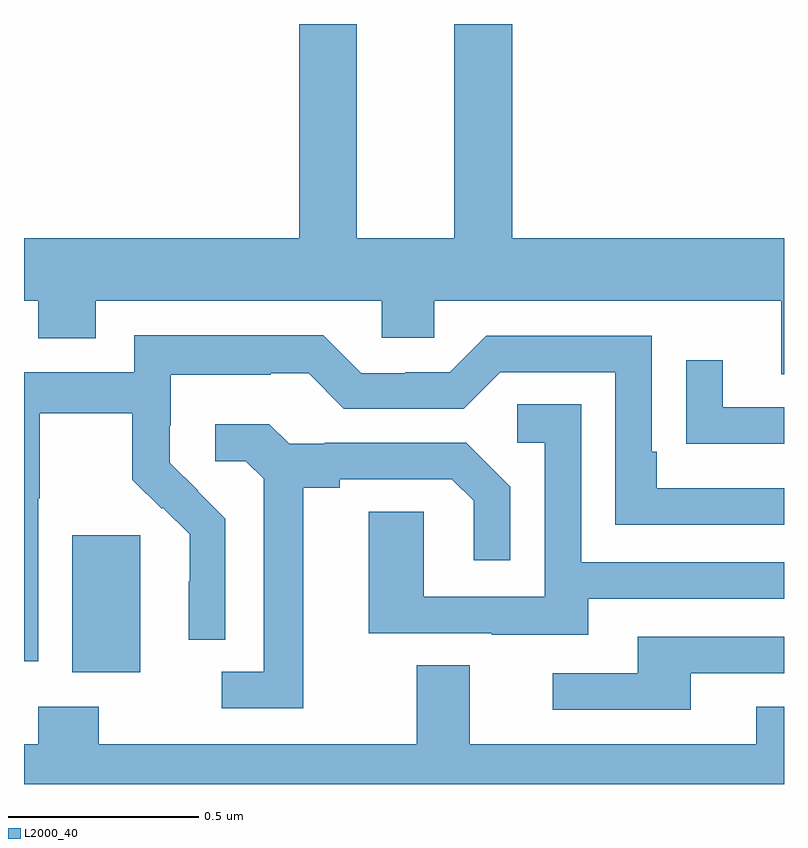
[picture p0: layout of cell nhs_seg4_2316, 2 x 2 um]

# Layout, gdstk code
import gdstk
lib = gdstk.Library(unit=1e-6, precision=1e-09)
def R(c, l, rs):  # rectangles x0, y0, x1, y1
    for r in rs: c.add(gdstk.rectangle(r[:2], r[2:], *l))
def P(c, l, *ps):  # polygons
    for p in ps: c.add(gdstk.Polygon(p, *l))
L2000_40 = (2000, 40)

nhs_seg4_2316 = lib.new_cell('nhs_seg4_2316')
R(nhs_seg4_2316, L2000_40, [(139.127,777.194,139.306,777.555)])
P(nhs_seg4_2316, L2000_40, [(141,778.336),(140.285,778.336),(140.285,778.9),(140.132,778.9),(140.132,778.336),(139.876,778.336),(139.876,778.9),(139.724,778.9),(139.724,778.336),(139,778.336),(139,778.172),(139.037,778.172),(139.037,778.073),(139.189,778.073),(139.189,778.172),(139.941,778.172),(139.941,778.074),(140.079,778.074),(140.079,778.172),(140.993,778.172),(140.993,777.978),(141,777.978)],
  [(139.038,777.652),(139.041,777.652),(139.041,777.876),(139.285,777.876),(139.285,777.701),(139.362,777.624),(139.365,777.627),(139.436,777.557),(139.436,777.434),(139.434,777.434),(139.434,777.28),(139.53,777.28),(139.53,777.598),(139.457,777.671),(139.458,777.672),(139.384,777.746),(139.384,777.843),(139.386,777.843),(139.386,777.977),(139.649,777.977),(139.649,777.981),(139.749,777.981),(139.842,777.888),(140.157,777.888),(140.253,777.984),(140.556,777.984),(140.556,777.582),(141,777.582),(141,777.678),(140.665,777.678),(140.665,777.775),(140.652,777.775),(140.652,778.08),(140.217,778.08),(140.121,777.984),(140.003,777.984),(140.003,777.981),(139.887,777.981),(139.787,778.081),(139.29,778.081),(139.29,777.984),(139,777.984),(139,777.223),(139.038,777.223)],
  [(141,777.891),(140.839,777.891),(140.839,778.015),(140.743,778.015),(140.743,777.796),(140.845,777.796),(140.845,777.795),(141,777.795)],
  [(140.485,777.387),(141,777.387),(141,777.483),(140.466,777.483),(140.466,777.899),(140.298,777.899),(140.298,777.798),(140.37,777.798),(140.37,777.393),(140.052,777.393),(140.052,777.617),(139.907,777.617),(139.907,777.297),(140.231,777.297),(140.231,777.293),(140.485,777.293)],
  [(139.735,777.68),(139.831,777.68),(139.831,777.702),(140.126,777.702),(140.183,777.645),(140.183,777.489),(140.28,777.489),(140.28,777.682),(140.164,777.798),(139.792,777.798),(139.792,777.795),(139.698,777.795),(139.646,777.847),(139.503,777.847),(139.503,777.75),(139.584,777.75),(139.631,777.703),(139.631,777.195),(139.521,777.195),(139.521,777.099),(139.735,777.099)],
  [(140.755,777.192),(141,777.192),(141,777.288),(140.615,777.288),(140.615,777.192),(140.391,777.192),(140.391,777.096),(140.755,777.096)],
  [(141,777.103),(140.927,777.103),(140.927,777.004),(140.173,777.004),(140.173,777.212),(140.033,777.212),(140.033,777.004),(139.197,777.004),(139.197,777.103),(139.037,777.103),(139.037,777.004),(139,777.004),(139,776.9),(141,776.9)])

lib.write_gds('nhs_seg4_2316.gds')
